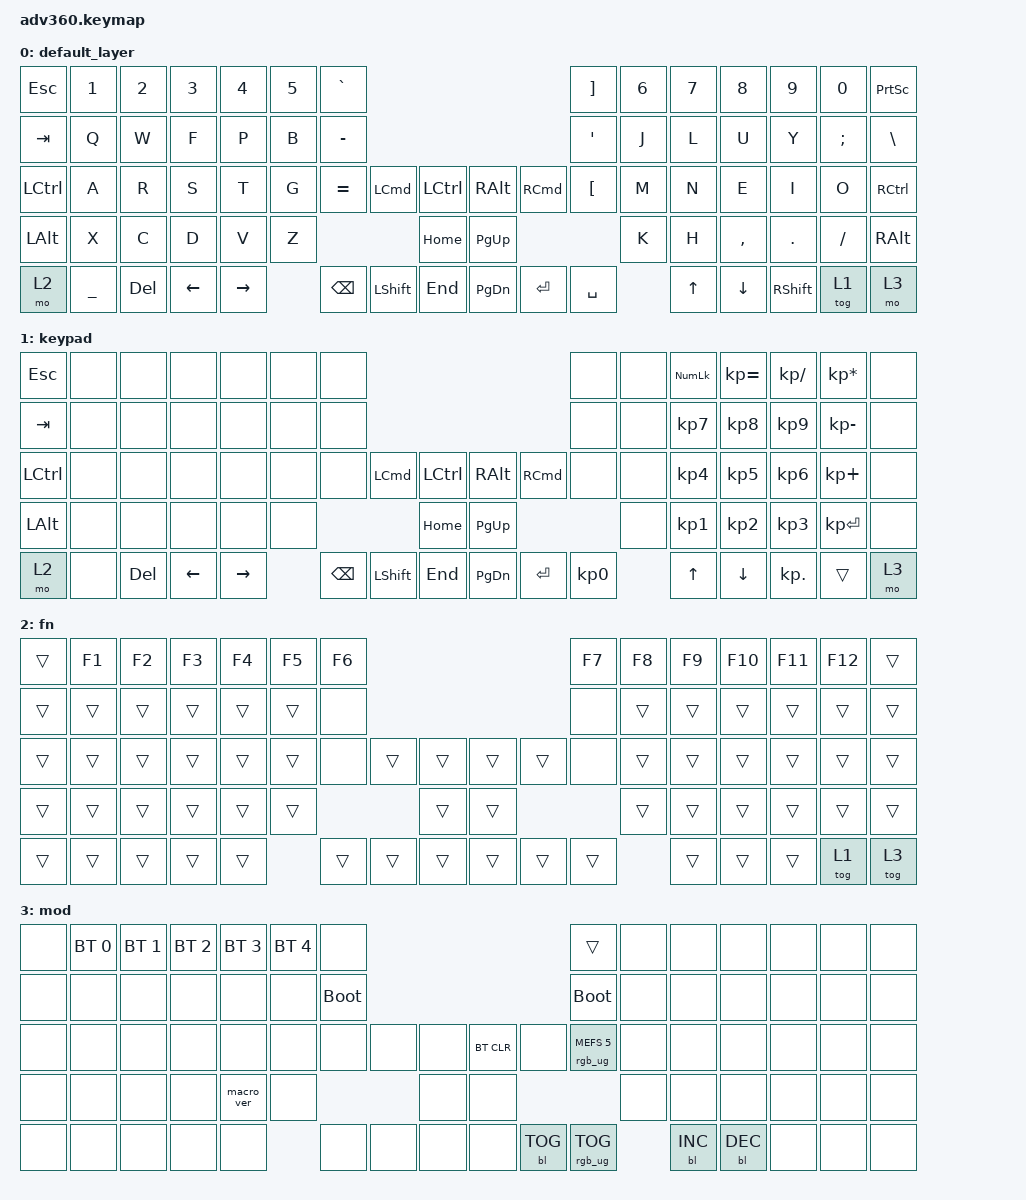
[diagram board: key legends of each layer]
#include <behaviors.dtsi>
#include <dt-bindings/zmk/backlight.h>
#include <dt-bindings/zmk/bt.h>
#include <dt-bindings/zmk/keys.h>
#include <dt-bindings/zmk/rgb.h>

/ {
    behaviors {
        #include "macros.dtsi"
      #include "version.dtsi"
      #ifndef VERSION_MACRO

        macro_ver: macro_ver {
            compatible = "zmk,behavior-macro";
            label = "macro_version";
            #binding-cells = <0>;
            bindings = <&kp RET>;
        };

        #endif

        hm: homerow_mods {
            compatible = "zmk,behavior-hold-tap";
            label = "HOMEROW_MODS";
            #binding-cells = <2>;
            tapping-term-ms = <200>;
            quick_tap_ms = <175>;
            flavor = "tap-preferred";
            bindings = <&kp>, <&kp>;
        };
    };

    macros {
    };

    keymap {
        compatible = "zmk,keymap";

        default_layer {
            bindings = <
&kp ESC           &kp N1          &kp N2   &kp N3    &kp N4     &kp N5  &kp GRAVE                                                                     &kp RBKT   &kp N6  &kp N7  &kp N8     &kp N9      &kp N0         &kp PRINTSCREEN
&kp TAB           &kp Q           &kp W    &kp F     &kp P      &kp B   &kp MINUS                                                                     &kp SQT    &kp J   &kp L   &kp U      &kp Y       &kp SEMICOLON  &kp BSLH
&kp LEFT_CONTROL  &kp A           &kp R    &kp S     &kp T      &kp G   &kp EQUAL  &kp LEFT_COMMAND  &kp LCTRL      &kp RIGHT_ALT  &kp RIGHT_COMMAND  &kp LBKT   &kp M   &kp N   &kp E      &kp I       &kp O          &kp RCTRL
&kp LEFT_ALT      &kp X           &kp C    &kp D     &kp V      &kp Z                                &kp HOME       &kp PG_UP                                    &kp K   &kp H   &kp COMMA  &kp DOT     &kp FSLH       &kp RIGHT_ALT
&mo 2             &kp UNDERSCORE  &kp DEL  &kp LEFT  &kp RIGHT          &kp BSPC   &kp LSHIFT        &kp END        &kp PG_DN      &kp ENTER          &kp SPACE          &kp UP  &kp DOWN   &kp RSHIFT  &tog 1         &mo 3
            >;
        };

        keypad {
            bindings = <
&kp ESC           &none  &none    &none     &none      &none  &none                                                                               &none      &none  &kp KP_NUM  &kp KP_EQUAL  &kp KP_DIVIDE  &kp KP_MULTIPLY  &none
&kp TAB           &none  &none    &none     &none      &none  &none                                                                               &none      &none  &kp KP_N7   &kp KP_N8     &kp KP_N9      &kp KP_MINUS     &none
&kp LEFT_CONTROL  &none  &none    &none     &none      &none  &none     &kp LEFT_COMMAND  &kp LEFT_CONTROL      &kp RIGHT_ALT  &kp RIGHT_COMMAND  &none      &none  &kp KP_N4   &kp KP_N5     &kp KP_N6      &kp KP_PLUS      &none
&kp LEFT_ALT      &none  &none    &none     &none      &none                              &kp HOME              &kp PG_UP                                    &none  &kp KP_N1   &kp KP_N2     &kp KP_N3      &kp KP_ENTER     &none
&mo 2             &none  &kp DEL  &kp LEFT  &kp RIGHT         &kp BSPC  &kp LEFT_SHIFT    &kp END               &kp PG_DN      &kp ENTER          &kp KP_N0         &kp UP      &kp DOWN      &kp KP_DOT     &trans           &mo 3
            >;
        };

        fn {
            bindings = <
&trans  &kp F1  &kp F2  &kp F3  &kp F4  &kp F5  &kp F6                                      &kp F7  &kp F8  &kp F9  &kp F10  &kp F11  &kp F12  &trans
&trans  &trans  &trans  &trans  &trans  &trans  &none                                       &none   &trans  &trans  &trans   &trans   &trans   &trans
&trans  &trans  &trans  &trans  &trans  &trans  &none   &trans  &trans      &trans  &trans  &none   &trans  &trans  &trans   &trans   &trans   &trans
&trans  &trans  &trans  &trans  &trans  &trans                  &trans      &trans                  &trans  &trans  &trans   &trans   &trans   &trans
&trans  &trans  &trans  &trans  &trans          &trans  &trans  &trans      &trans  &trans  &trans          &trans  &trans   &trans   &tog 1   &tog 3
            >;
        };

        mod {
            bindings = <
&none  &bt BT_SEL 0  &bt BT_SEL 1  &bt BT_SEL 2  &bt BT_SEL 3  &bt BT_SEL 4  &none                                                  &trans                  &none  &none       &none       &none  &none  &none
&none  &none         &none         &none         &none         &none         &bootloader                                            &bootloader             &none  &none       &none       &none  &none  &none
&none  &none         &none         &none         &none         &none         &none        &none  &none      &bt BT_CLR  &none       &rgb_ug RGB_MEFS_CMD 5  &none  &none       &none       &none  &none  &none
&none  &none         &none         &none         &macro_ver    &none                             &none      &none                                           &none  &none       &none       &none  &none  &none
&none  &none         &none         &none         &none                       &none        &none  &none      &none       &bl BL_TOG  &rgb_ug RGB_TOG                &bl BL_INC  &bl BL_DEC  &none  &none  &none
            >;
        };
    };
};
